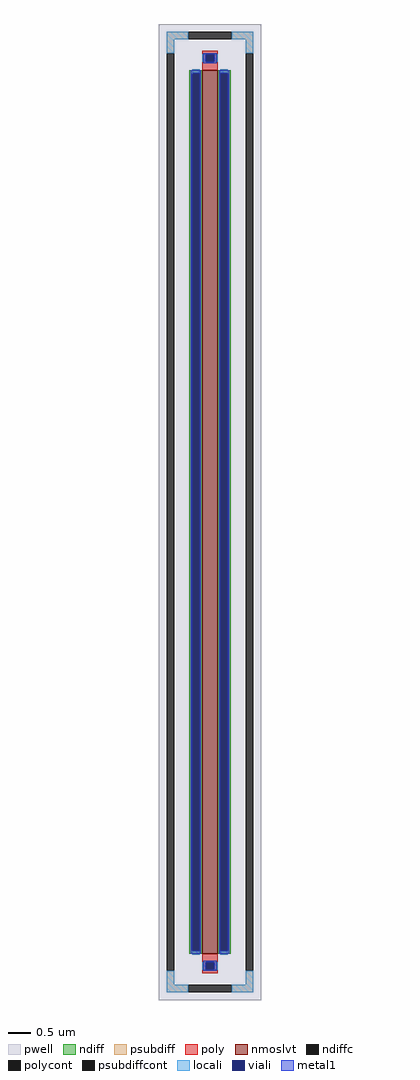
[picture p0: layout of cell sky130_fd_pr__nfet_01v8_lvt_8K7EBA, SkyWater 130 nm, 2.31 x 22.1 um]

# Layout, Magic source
magic
tech sky130A
magscale 1 2
<< pwell >>
rect -231 -2210 231 2210
<< nmoslvt >>
rect -35 -2000 35 2000
<< ndiff >>
rect -93 1988 -35 2000
rect -93 -1988 -81 1988
rect -47 -1988 -35 1988
rect -93 -2000 -35 -1988
rect 35 1988 93 2000
rect 35 -1988 47 1988
rect 81 -1988 93 1988
rect 35 -2000 93 -1988
<< ndiffc >>
rect -81 -1988 -47 1988
rect 47 -1988 81 1988
<< psubdiff >>
rect -195 2140 -99 2174
rect 99 2140 195 2174
rect -195 2078 -161 2140
rect 161 2078 195 2140
rect -195 -2140 -161 -2078
rect 161 -2140 195 -2078
rect -195 -2174 -99 -2140
rect 99 -2174 195 -2140
<< psubdiffcont >>
rect -99 2140 99 2174
rect -195 -2078 -161 2078
rect 161 -2078 195 2078
rect -99 -2174 99 -2140
<< poly >>
rect -35 2072 35 2088
rect -35 2038 -19 2072
rect 19 2038 35 2072
rect -35 2000 35 2038
rect -35 -2038 35 -2000
rect -35 -2072 -19 -2038
rect 19 -2072 35 -2038
rect -35 -2088 35 -2072
<< polycont >>
rect -19 2038 19 2072
rect -19 -2072 19 -2038
<< locali >>
rect -195 2140 -99 2174
rect 99 2140 195 2174
rect -195 2078 -161 2140
rect 161 2078 195 2140
rect -35 2038 -19 2072
rect 19 2038 35 2072
rect -81 1988 -47 2004
rect -81 -2004 -47 -1988
rect 47 1988 81 2004
rect 47 -2004 81 -1988
rect -35 -2072 -19 -2038
rect 19 -2072 35 -2038
rect -195 -2140 -161 -2078
rect 161 -2140 195 -2078
rect -195 -2174 -99 -2140
rect 99 -2174 195 -2140
<< viali >>
rect -19 2038 19 2072
rect -81 -1988 -47 1988
rect 47 -1988 81 1988
rect -19 -2072 19 -2038
<< metal1 >>
rect -31 2072 31 2078
rect -31 2038 -19 2072
rect 19 2038 31 2072
rect -31 2032 31 2038
rect -87 1988 -41 2000
rect -87 -1988 -81 1988
rect -47 -1988 -41 1988
rect -87 -2000 -41 -1988
rect 41 1988 87 2000
rect 41 -1988 47 1988
rect 81 -1988 87 1988
rect 41 -2000 87 -1988
rect -31 -2038 31 -2032
rect -31 -2072 -19 -2038
rect 19 -2072 31 -2038
rect -31 -2078 31 -2072
<< properties >>
string gencell sky130_fd_pr__nfet_01v8_lvt
string FIXED_BBOX -178 -2157 178 2157
string parameters w 20 l 0.35 m 1 nf 1 diffcov 100 polycov 100 guard 1 glc 1 grc 1 gtc 1 gbc 1 tbcov 100 rlcov 100 topc 1 botc 1 poverlap 0 doverlap 1 lmin 0.15 wmin 0.42 compatible {sky130_fd_pr__nfet_01v8 sky130_fd_pr__nfet_01v8_lvt  sky130_fd_bs_flash__special_sonosfet_star  sky130_fd_pr__nfet_g5v0d10v5 sky130_fd_pr__nfet_05v0_nvt  sky130_fd_pr__nfet_03v3_nvt} full_metal 1 viasrc 100 viadrn 100 viagate 100 viagb 0 viagr 0 viagl 0 viagt 0
string library sky130
<< end >>
